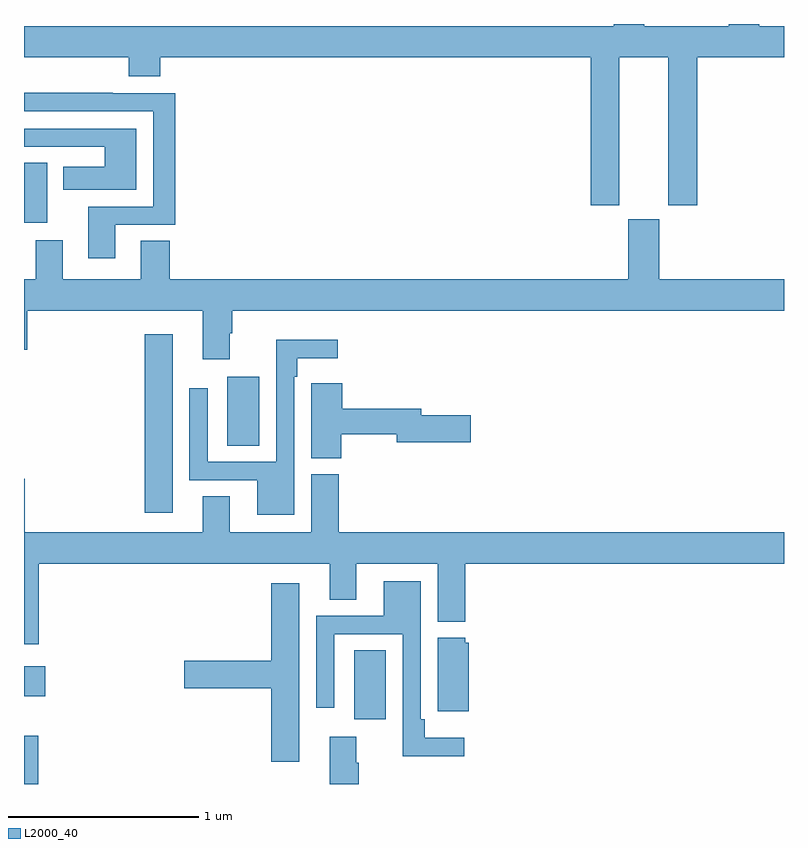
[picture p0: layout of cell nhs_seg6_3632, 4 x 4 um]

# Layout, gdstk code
import gdstk
lib = gdstk.Library(unit=1e-6, precision=1e-09)
def R(c, l, rs):  # rectangles x0, y0, x1, y1
    for r in rs: c.add(gdstk.rectangle(r[:2], r[2:], *l))
def P(c, l, *ps):  # polygons
    for p in ps: c.add(gdstk.Polygon(p, *l))
L2000_40 = (2000, 40)

nhs_seg6_3632 = lib.new_cell('nhs_seg6_3632')
R(nhs_seg6_3632, L2000_40, [(323,955.5,323.075,955.753), (324.737,955.842,324.904,956.204), (323,955.961,323.113,956.119), (323.636,956.928,323.782,957.868), (324.071,957.28,324.238,957.643), (323,958.455,323.122,958.769)])
P(nhs_seg6_3632, L2000_40, [(326.134,959.324),(326.39,959.324),(326.39,958.545),(326.543,958.545),(326.543,959.324),(327,959.324),(327,959.488),(326.87,959.488),(326.87,959.5),(326.71,959.5),(326.71,959.488),(326.265,959.488),(326.265,959.5),(326.105,959.5),(326.105,959.488),(323,959.488),(323,959.324),(323.552,959.324),(323.552,959.225),(323.717,959.225),(323.717,959.324),(325.982,959.324),(325.982,958.545),(326.134,958.545)],
  [(323.479,958.443),(323.795,958.443),(323.795,959.136),(323.468,959.136),(323.468,959.138),(323,959.138),(323,959.04),(323.679,959.04),(323.679,958.539),(323.339,958.539),(323.339,958.266),(323.479,958.266)],
  [(323.59,958.95),(323,958.95),(323,958.854),(323.426,958.854),(323.426,958.75),(323.207,958.75),(323.207,958.628),(323.59,958.628)],
  [(324.082,957.872),(324.095,957.872),(324.095,957.992),(327,957.992),(327,958.156),(326.344,958.156),(326.344,958.473),(326.18,958.473),(326.18,958.156),(323.768,958.156),(323.768,958.358),(323.615,958.358),(323.615,958.156),(323.203,958.156),(323.203,958.363),(323.063,958.363),(323.063,958.156),(323,958.156),(323,957.786),(323.018,957.786),(323.018,957.992),(323.942,957.992),(323.942,957.735),(324.082,957.735)],
  [(324.423,957.644),(324.439,957.644),(324.439,957.74),(324.652,957.74),(324.652,957.838),(324.327,957.838),(324.327,957.195),(323.967,957.195),(323.967,957.583),(323.871,957.583),(323.871,957.099),(324.227,957.099),(324.227,956.918),(324.423,956.918)],
  [(324.669,957.34),(324.962,957.34),(324.962,957.298),(325.351,957.298),(325.351,957.44),(325.09,957.44),(325.09,957.476),(324.674,957.476),(324.674,957.61),(324.513,957.61),(324.513,957.497),(324.512,957.497),(324.512,957.214),(324.669,957.214)],
  [(323.078,956.66),(324.608,956.66),(324.608,956.47),(324.748,956.47),(324.748,956.66),(325.178,956.66),(325.178,956.354),(325.322,956.354),(325.322,956.66),(327,956.66),(327,956.824),(324.656,956.824),(324.656,957.129),(324.512,957.129),(324.512,956.824),(324.082,956.824),(324.082,957.014),(323.942,957.014),(323.942,956.824),(323.003,956.824),(323.003,957.106),(323,957.106),(323,956.235),(323.078,956.235)],
  [(325.318,955.744),(325.109,955.744),(325.109,955.84),(325.089,955.84),(325.089,956.566),(324.893,956.566),(324.893,956.385),(324.537,956.385),(324.537,955.902),(324.633,955.902),(324.633,956.289),(324.993,956.289),(324.993,955.646),(325.318,955.646)],
  [(324.448,956.557),(324.302,956.557),(324.302,956.15),(323.844,956.15),(323.844,956.003),(324.302,956.003),(324.302,955.617),(324.448,955.617)],
  [(325.342,956.244),(325.323,956.244),(325.323,956.269),(325.178,956.269),(325.178,955.883),(325.342,955.883)],
  [(324.761,955.613),(324.748,955.613),(324.748,955.75),(324.608,955.75),(324.608,955.5),(324.761,955.5)])

lib.write_gds('nhs_seg6_3632.gds')
